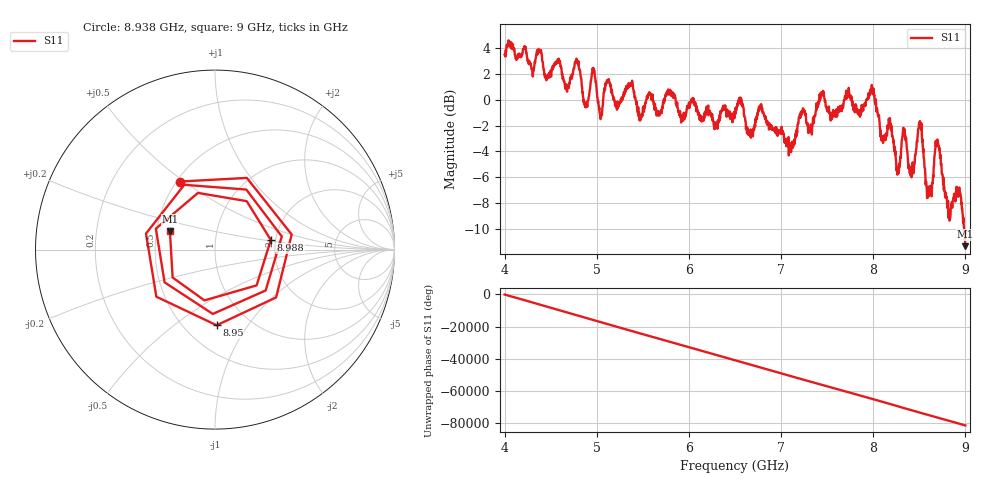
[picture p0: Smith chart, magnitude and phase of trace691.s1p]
! Created with skrf 1.8.0 (http://scikit-rf.org).
# Hz S RI R 50.0
!freq ReS11 ImS11
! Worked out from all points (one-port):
!   1601 points, 4 GHz to 9 GHz, reference 50 ohm
!   lowest |S11| = -11.3 dB at 9 GHz (marker M1), VSWR 1.74, Z = 29.4 + j6.48 ohm
!   |S11| at or under -10 dB: 8.987659 GHz to end of sweep
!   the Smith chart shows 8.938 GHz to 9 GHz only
!   S11 on the Smith chart (normalised r, x): 8.938 GHz: 0.52, +0.48; 8.95 GHz: 0.71, -0.73; 8.988 GHz: 1.89, +0.23; 9 GHz: 0.59, +0.13
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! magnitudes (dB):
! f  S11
! 4 GHz  3.5
! 4.625 GHz  2.0
! 4.788 GHz  2.9
! 4.881 GHz  -0.6
! 4.966 GHz  2.2
! 5.041 GHz  -1.5
! 5.119 GHz  1.5
! 5.25 GHz  -0.2
! 5.875 GHz  -0.5
! 6.5 GHz  -1.1
! 7.125 GHz  -3.7
! 7.441 GHz  0.6
! 7.547 GHz  -1.3
! 7.75 GHz  0.1
! 7.988 GHz  0.9
! 8.191 GHz  -1.9
! 8.262 GHz  -5.8
! 8.334 GHz  -2.6
! 8.375 GHz  -4.5
! 8.428 GHz  -4.8
! 8.509 GHz  -2.0
! 8.594 GHz  -7.6
! 8.697 GHz  -3.1
! 8.816 GHz  -9.1
! 8.938 GHz  -7.4
! 8.95 GHz  -7.5
! 8.988 GHz  -10.0
! 9 GHz  -11.3
